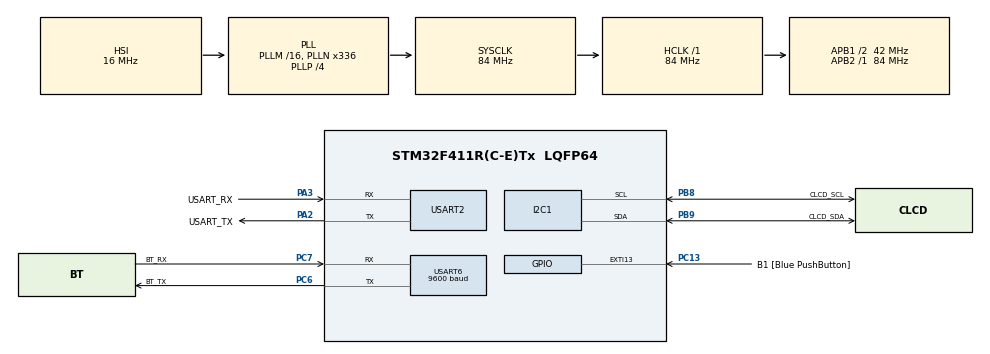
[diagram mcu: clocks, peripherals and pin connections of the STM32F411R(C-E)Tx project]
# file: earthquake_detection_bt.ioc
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Mcu.Family=STM32F4
Mcu.Name=STM32F411R(C-E)Tx
Mcu.Package=LQFP64
NVIC.PriorityGroup=NVIC_PRIORITYGROUP_0
NVIC.USART6_IRQn=true\:0\:0\:false\:false\:true\:true\:true\:true
PA13.GPIO_Label=TMS
PA13.Mode=Serial_Wire
PA13.Signal=SYS_JTMS-SWDIO
PA14.GPIO_Label=TCK
PA14.Mode=Serial_Wire
PA14.Signal=SYS_JTCK-SWCLK
PA2.GPIO_Label=USART_TX
PA2.Mode=Asynchronous
PA2.Signal=USART2_TX
PA3.GPIO_Label=USART_RX
PA3.Mode=Asynchronous
PA3.Signal=USART2_RX
PB3.GPIO_Label=SWO
PB3.Signal=SYS_JTDO-SWO
PB8.GPIO_Label=CLCD_SCL
PB8.Mode=I2C
PB8.Signal=I2C1_SCL
PB9.GPIO_Label=CLCD_SDA
PB9.Mode=I2C
PB9.Signal=I2C1_SDA
PC13-ANTI_TAMP.GPIO_Label=B1 [Blue PushButton]
PC13-ANTI_TAMP.GPIO_ModeDefaultEXTI=GPIO_MODE_IT_FALLING
PC13-ANTI_TAMP.Signal=GPXTI13
PC14-OSC32_IN.Mode=LSE-External-Oscillator
PC14-OSC32_IN.Signal=RCC_OSC32_IN
PC15-OSC32_OUT.Mode=LSE-External-Oscillator
PC15-OSC32_OUT.Signal=RCC_OSC32_OUT
PC6.GPIO_Label=BT_TX
PC6.Mode=Asynchronous
PC6.Signal=USART6_TX
PC7.GPIO_Label=BT_RX
PC7.Mode=Asynchronous
PC7.Signal=USART6_RX
PH0\ -\ OSC_IN.Mode=HSE-External-Clock-Source
PH0\ -\ OSC_IN.Signal=RCC_OSC_IN
PH1\ -\ OSC_OUT.Mode=HSE-External-Clock-Source
PH1\ -\ OSC_OUT.Signal=RCC_OSC_OUT
ProjectManager.HeapSize=0x200
ProjectManager.StackSize=0x400
ProjectManager.TargetToolchain=STM32CubeIDE
RCC.48MHZClocksFreq_Value=84000000
RCC.AHBFreq_Value=84000000
RCC.APB1CLKDivider=RCC_HCLK_DIV2
RCC.APB1Freq_Value=42000000
RCC.APB1TimFreq_Value=84000000
RCC.APB2Freq_Value=84000000
RCC.APB2TimFreq_Value=84000000
RCC.CortexFreq_Value=84000000
RCC.FLatency-AdvancedSettings=FLASH_LATENCY_2
RCC.HCLKFreq_Value=84000000
RCC.HSE_VALUE=8000000
RCC.HSI_VALUE=16000000
RCC.PLLN=336
RCC.PLLP=RCC_PLLP_DIV4
RCC.SYSCLKFreq_VALUE=84000000
RCC.SYSCLKSource=RCC_SYSCLKSOURCE_PLLCLK
RCC.VCOOutputFreq_Value=336000000
USART2.VirtualMode=VM_ASYNC
USART6.BaudRate=9600
USART6.VirtualMode=VM_ASYNC
board=NUCLEO-F411RE

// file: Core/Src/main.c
/* USER CODE BEGIN Header */
/**
  ******************************************************************************
  * @file           : main.c
  * @brief          : Main program body
  ******************************************************************************
  * @attention
  *
  * Copyright (c) 2026 STMicroelectronics.
  * All rights reserved.
  *
  * This software is licensed under terms that can be found in the LICENSE file
  * in the root directory of this software component.
  * If no LICENSE file comes with this software, it is provided AS-IS.
  *
  ******************************************************************************
  */
/* USER CODE END Header */
#include "main.h"

/* USER CODE BEGIN Includes */
#include <stdio.h>
#include <string.h>
#include <stdlib.h>
#include "clcd.h"
/* USER CODE END Includes */

/* USER CODE BEGIN PD */
#ifdef __GNUC__
/* With GCC, small printf (option LD Linker->Libraries->Small printf
   set to 'Yes') calls __io_putchar() */
#define PUTCHAR_PROTOTYPE int __io_putchar(int ch)
#else
#define PUTCHAR_PROTOTYPE int fputc(int ch, FILE *f)
#endif /* __GNUC__ */
#define ARR_CNT 7
#define CMD_SIZE 50
/* USER CODE END PD */

I2C_HandleTypeDef hi2c1;

UART_HandleTypeDef huart2;
UART_HandleTypeDef huart6;

/* USER CODE BEGIN PV */
uint8_t btchar;
volatile uint8_t btFlag = 0;
char btData[50];
char lcdLine1[17] = {0};
char lcdLine2[17] = {0};
/* USER CODE END PV */

void SystemClock_Config(void);
static void MX_GPIO_Init(void);
static void MX_USART2_UART_Init(void);
static void MX_USART6_UART_Init(void);
static void MX_I2C1_Init(void);
/* USER CODE BEGIN PFP */
void bluetooth_Event(void);
/* USER CODE END PFP */

int main(void)
{

  /* MCU Configuration--------------------------------------------------------*/

  /* Reset of all peripherals, Initializes the Flash interface and the Systick. */
  HAL_Init();

  /* Configure the system clock */
  SystemClock_Config();

  /* Initialize all configured peripherals */
  MX_GPIO_Init();
  MX_USART2_UART_Init();
  MX_USART6_UART_Init();
  MX_I2C1_Init();
  /* USER CODE BEGIN 2 */
  HAL_UART_Receive_IT(&huart6, &btchar, 1);

  LCD_init(&hi2c1);

  LCD_writeStringXY(0, 0, "hello lcd");

  printf("\r\n");
  printf("====================\r\n");
  printf("STM32 START\r\n");
  printf("USART2 DEBUG OK\r\n");
  printf("====================\r\n");
  /* USER CODE END 2 */

  /* Infinite loop */
  while (1)
  {
	  if (btFlag)
	  {

	      bluetooth_Event();

	      /*
	       * 이전 글자가 남는 것 방지
	       */
	      LCD_writeStringXY(0, 0, "                ");
	      LCD_writeStringXY(1, 0, "                ");

	      LCD_writeStringXY(0, 0, lcdLine1);
	      LCD_writeStringXY(1, 0, lcdLine2);

	      btFlag = 0;
	  }
  }
}

void SystemClock_Config(void)
{
  RCC_OscInitTypeDef RCC_OscInitStruct = {0};
  RCC_ClkInitTypeDef RCC_ClkInitStruct = {0};

  /** Configure the main internal regulator output voltage
  */
  __HAL_RCC_PWR_CLK_ENABLE();
  __HAL_PWR_VOLTAGESCALING_CONFIG(PWR_REGULATOR_VOLTAGE_SCALE1);

  /** Initializes the RCC Oscillators according to the specified parameters
  * in the RCC_OscInitTypeDef structure.
  */
  RCC_OscInitStruct.OscillatorType = RCC_OSCILLATORTYPE_HSI;
  RCC_OscInitStruct.HSIState = RCC_HSI_ON;
  RCC_OscInitStruct.HSICalibrationValue = RCC_HSICALIBRATION_DEFAULT;
  RCC_OscInitStruct.PLL.PLLState = RCC_PLL_ON;
  RCC_OscInitStruct.PLL.PLLSource = RCC_PLLSOURCE_HSI;
  RCC_OscInitStruct.PLL.PLLM = 16;
  RCC_OscInitStruct.PLL.PLLN = 336;
  RCC_OscInitStruct.PLL.PLLP = RCC_PLLP_DIV4;
  RCC_OscInitStruct.PLL.PLLQ = 4;
  if (HAL_RCC_OscConfig(&RCC_OscInitStruct) != HAL_OK)
  {
    Error_Handler();
  }

  /** Initializes the CPU, AHB and APB buses clocks
  */
  RCC_ClkInitStruct.ClockType = RCC_CLOCKTYPE_HCLK|RCC_CLOCKTYPE_SYSCLK
                              |RCC_CLOCKTYPE_PCLK1|RCC_CLOCKTYPE_PCLK2;
  RCC_ClkInitStruct.SYSCLKSource = RCC_SYSCLKSOURCE_PLLCLK;
  RCC_ClkInitStruct.AHBCLKDivider = RCC_SYSCLK_DIV1;
  RCC_ClkInitStruct.APB1CLKDivider = RCC_HCLK_DIV2;
  RCC_ClkInitStruct.APB2CLKDivider = RCC_HCLK_DIV1;

  if (HAL_RCC_ClockConfig(&RCC_ClkInitStruct, FLASH_LATENCY_2) != HAL_OK)
  {
    Error_Handler();
  }
}

static void MX_I2C1_Init(void)
{

  hi2c1.Instance = I2C1;
  hi2c1.Init.ClockSpeed = 100000;
  hi2c1.Init.DutyCycle = I2C_DUTYCYCLE_2;
  hi2c1.Init.OwnAddress1 = 0;
  hi2c1.Init.AddressingMode = I2C_ADDRESSINGMODE_7BIT;
  hi2c1.Init.DualAddressMode = I2C_DUALADDRESS_DISABLE;
  hi2c1.Init.OwnAddress2 = 0;
  hi2c1.Init.GeneralCallMode = I2C_GENERALCALL_DISABLE;
  hi2c1.Init.NoStretchMode = I2C_NOSTRETCH_DISABLE;
  if (HAL_I2C_Init(&hi2c1) != HAL_OK)
  {
    Error_Handler();
  }

}

static void MX_USART2_UART_Init(void)
{

  huart2.Instance = USART2;
  huart2.Init.BaudRate = 115200;
  huart2.Init.WordLength = UART_WORDLENGTH_8B;
  huart2.Init.StopBits = UART_STOPBITS_1;
  huart2.Init.Parity = UART_PARITY_NONE;
  huart2.Init.Mode = UART_MODE_TX_RX;
  huart2.Init.HwFlowCtl = UART_HWCONTROL_NONE;
  huart2.Init.OverSampling = UART_OVERSAMPLING_16;
  if (HAL_UART_Init(&huart2) != HAL_OK)
  {
    Error_Handler();
  }

}

static void MX_USART6_UART_Init(void)
{

  huart6.Instance = USART6;
  huart6.Init.BaudRate = 9600;
  huart6.Init.WordLength = UART_WORDLENGTH_8B;
  huart6.Init.StopBits = UART_STOPBITS_1;
  huart6.Init.Parity = UART_PARITY_NONE;
  huart6.Init.Mode = UART_MODE_TX_RX;
  huart6.Init.HwFlowCtl = UART_HWCONTROL_NONE;
  huart6.Init.OverSampling = UART_OVERSAMPLING_16;
  if (HAL_UART_Init(&huart6) != HAL_OK)
  {
    Error_Handler();
  }

}

static void MX_GPIO_Init(void)
{
  GPIO_InitTypeDef GPIO_InitStruct = {0};

  /* GPIO Ports Clock Enable */
  __HAL_RCC_GPIOC_CLK_ENABLE();
  __HAL_RCC_GPIOH_CLK_ENABLE();
  __HAL_RCC_GPIOA_CLK_ENABLE();
  __HAL_RCC_GPIOB_CLK_ENABLE();

  /*Configure GPIO pin : B1_Pin */
  GPIO_InitStruct.Pin = B1_Pin;
  GPIO_InitStruct.Mode = GPIO_MODE_IT_FALLING;
  GPIO_InitStruct.Pull = GPIO_NOPULL;
  HAL_GPIO_Init(B1_GPIO_Port, &GPIO_InitStruct);

}

/* USER CODE BEGIN 4 */
void bluetooth_Event(void)
{
    int i = 0;
    char *pToken;
    char *pArray[ARR_CNT] = {0};
    char recvBuf[CMD_SIZE] = {0};

    strcpy(recvBuf, btData);

    pToken = strtok(recvBuf, "[@]");

    while (pToken != NULL && i < ARR_CNT)
    {
        pArray[i++] = pToken;
        pToken = strtok(NULL, "[@]");
    }

    /*
     * 중계 후 수신: [PJS_SQL]SENSOR@AX@AY@AZ@SHOCK@LEVEL
      * 송신 시 목적지 ID는 PJS_STM, 중계 후 앞부분은 발신자 ID다.
     *
     * 0 : 발신자 ID (현재 PJS_SQL)
     * 1 : SENSOR
     * 2 : AX
     * 3 : AY
     * 4 : AZ
     * 5 : SHOCK
     * 6 : LEVEL
     */
    if (i < 7)
    {
        return;
    }

    if (strcmp(pArray[1], "SENSOR") != 0)
    {
        return;
    }

    float x = strtof(pArray[2], NULL) / 16384.0f;
    float y = strtof(pArray[3], NULL) / 16384.0f;
    float z = strtof(pArray[4], NULL) / 16384.0f;

    char det = '?';

    if (!strcmp(pArray[6], "SAFETY"))
    {
        det = 'S';
    }
    else if (!strcmp(pArray[6], "CAUTION"))
    {
        det = 'C';
    }
    else if (!strcmp(pArray[6], "WARNING"))
    {
        det = 'W';
    }

    /*
     * 16x2 LCD
     *
     * 예:
     * X-0.1 Y+0.2
     * Z+1.0 S:0 D:S
     */
    snprintf(
        lcdLine1,
        sizeof(lcdLine1),
        "X%+4.1f Y%+4.1f",
        x,
        y
    );

    snprintf(
        lcdLine2,
        sizeof(lcdLine2),
        "Z%+4.1f S:%s D:%c",
        z,
        pArray[5],
        det
    );
}
/**
  * @brief  Retargets the C library printf function to the USART.
  * @param  None
  * @retval None
  */
PUTCHAR_PROTOTYPE
{
  /* Place your implementation of fputc here */
  /* Debug printf output uses USART2. */
  HAL_UART_Transmit(&huart2, (uint8_t *)&ch, 1, 0xFFFF);

  return ch;
}

void HAL_UART_RxCpltCallback(UART_HandleTypeDef *huart)
{
	if(huart->Instance == USART6)
	    {
	    	static int i=0;
	    	btData[i] = btchar;
	    	if((btData[i] == '\n') || btData[i] == '\r')
	    	{
	    		btData[i] = '\0';
	    		btFlag = 1;
	    		i = 0;
	    	}
	    	else
	    	{
	    		i++;
	    	}
	    	HAL_UART_Receive_IT(&huart6, &btchar,1);
	    }
}
/* USER CODE END 4 */

void Error_Handler(void)
{
  __disable_irq();
  while (1)
  {
  }
}
